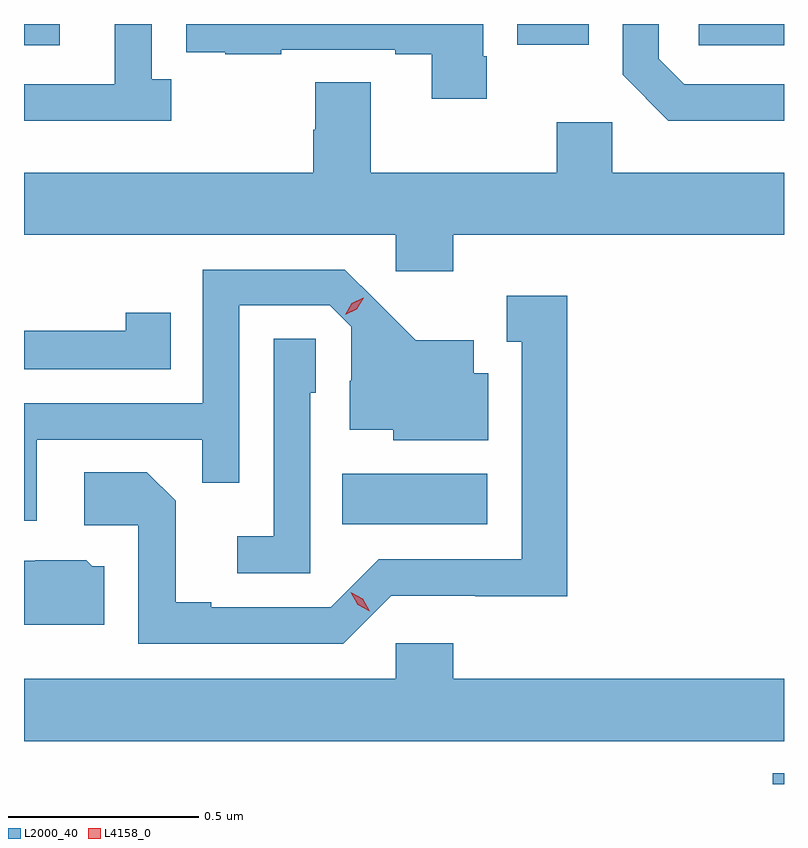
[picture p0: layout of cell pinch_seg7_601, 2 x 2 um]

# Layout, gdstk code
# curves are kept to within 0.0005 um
import gdstk
lib = gdstk.Library(unit=1e-6, precision=1e-09)
def R(c, l, rs):  # rectangles x0, y0, x1, y1
    for r in rs: c.add(gdstk.rectangle(r[:2], r[2:], *l))
def P(c, l, *ps):  # polygons
    for p in ps: c.add(gdstk.Polygon(p, *l))
L2000_40 = (2000, 40)
L4158_0 = (4158, 0)

pinch_seg7_601 = lib.new_cell('pinch_seg7_601')
R(pinch_seg7_601, L2000_40, [(139.388,1048.455,139.418,1048.483), (138.256,1049.138,138.637,1049.272), (137.418,1050.399,137.512,1050.455), (139.194,1050.399,139.418,1050.455), (138.716,1050.401,138.904,1050.455)])
P(pinch_seg7_601, L2000_40, [(139.418,1050.297),(139.155,1050.297),(139.089,1050.363),(139.089,1050.455),(138.993,1050.455),(138.993,1050.321),(139.114,1050.2),(139.418,1050.2)],
  [(137.806,1050.31),(137.754,1050.31),(137.754,1050.455),(137.657,1050.455),(137.657,1050.297),(137.418,1050.297),(137.418,1050.2),(137.806,1050.2)],
  [(138.636,1050.37),(138.627,1050.37),(138.627,1050.455),(137.845,1050.455),(137.845,1050.381),(137.947,1050.381),(137.947,1050.375),(138.095,1050.375),(138.095,1050.387),(138.395,1050.387),(138.395,1050.375),(138.491,1050.375),(138.491,1050.258),(138.636,1050.258)],
  [(138.548,1049.9),(139.418,1049.9),(139.418,1050.064),(138.966,1050.064),(138.966,1050.196),(138.82,1050.196),(138.82,1050.064),(138.331,1050.064),(138.331,1050.302),(138.184,1050.302),(138.184,1050.177),(138.179,1050.177),(138.179,1050.064),(137.418,1050.064),(137.418,1049.9),(138.396,1049.9),(138.396,1049.805),(138.548,1049.805)],
  [(137.451,1049.361),(137.887,1049.361),(137.887,1049.248),(137.985,1049.248),(137.985,1049.715),(138.222,1049.715),(138.279,1049.658),(138.279,1049.516),(138.275,1049.516),(138.275,1049.387),(138.39,1049.387),(138.39,1049.36),(138.64,1049.36),(138.64,1049.536),(138.601,1049.536),(138.601,1049.623),(138.449,1049.623),(138.262,1049.808),(137.889,1049.808),(137.889,1049.457),(137.418,1049.457),(137.418,1049.148),(137.451,1049.148)],
  [(138.384,1048.95),(138.606,1048.95),(138.606,1048.949),(138.847,1048.949),(138.847,1049.74),(138.689,1049.74),(138.689,1049.619),(138.728,1049.619),(138.728,1049.046),(138.351,1049.046),(138.225,1048.92),(137.911,1048.92),(137.911,1048.933),(137.817,1048.933),(137.817,1049.2),(137.741,1049.276),(137.577,1049.276),(137.577,1049.136),(137.718,1049.136),(137.718,1048.824),(138.258,1048.824)],
  [(137.804,1049.695),(137.686,1049.695),(137.686,1049.648),(137.418,1049.648),(137.418,1049.547),(137.804,1049.547)],
  [(138.171,1049.484),(138.186,1049.484),(138.186,1049.627),(138.075,1049.627),(138.075,1049.107),(137.979,1049.107),(137.979,1049.01),(138.171,1049.01)],
  [(137.629,1049.028),(137.598,1049.028),(137.582,1049.044),(137.448,1049.044),(137.448,1049.043),(137.418,1049.043),(137.418,1048.874),(137.629,1048.874)],
  [(139.418,1048.732),(138.548,1048.732),(138.548,1048.825),(138.396,1048.825),(138.396,1048.732),(137.418,1048.732),(137.418,1048.568),(139.418,1048.568)])
P(pinch_seg7_601, L4158_0, [(138.328,1048.909),(138.296,1048.927),(138.278,1048.96),(138.278,1048.96),(138.278,1048.96),(138.31,1048.942),(138.328,1048.909),(138.328,1048.909)],
  [(138.263,1049.69),(138.263,1049.69),(138.281,1049.72),(138.311,1049.735),(138.312,1049.735),(138.312,1049.735),(138.294,1049.705),(138.264,1049.69)])

lib.write_gds('pinch_seg7_601.gds')
